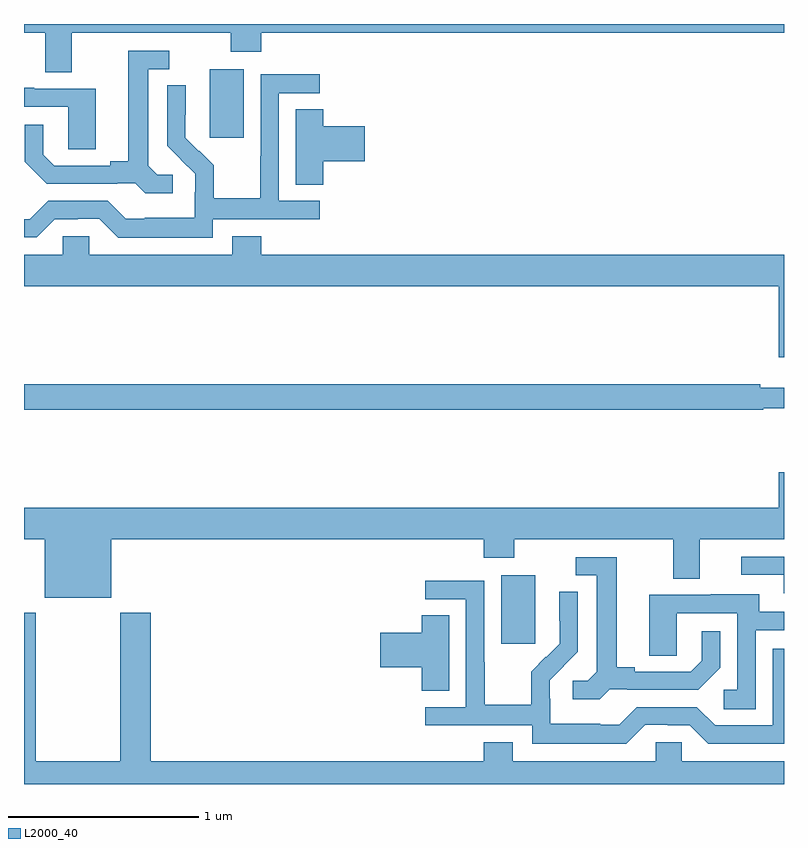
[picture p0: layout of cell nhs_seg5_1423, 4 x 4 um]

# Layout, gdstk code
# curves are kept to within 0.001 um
import gdstk
lib = gdstk.Library(unit=1e-6, precision=1e-09)
def R(c, l, rs):  # rectangles x0, y0, x1, y1
    for r in rs: c.add(gdstk.rectangle(r[:2], r[2:], *l))
def P(c, l, *ps):  # polygons
    for p in ps: c.add(gdstk.Polygon(p, *l))
L2000_40 = (2000, 40)

nhs_seg5_1423 = lib.new_cell('nhs_seg5_1423')
R(nhs_seg5_1423, L2000_40, [(199.511,861.537,199.69,861.898), (197.978,864.201,198.157,864.562)])
P(nhs_seg5_1423, L2000_40, [(197.251,864.752),(198.088,864.752),(198.088,864.653),(198.248,864.653),(198.248,864.752),(201,864.752),(201,864.799),(197,864.799),(197,864.752),(197.111,864.752),(197.111,864.544),(197.251,864.544)],
  [(197.782,864.006),(197.7,864.006),(197.653,864.053),(197.653,864.561),(197.764,864.561),(197.764,864.657),(197.549,864.657),(197.549,864.077),(197.453,864.077),(197.453,864.054),(197.158,864.054),(197.101,864.111),(197.101,864.268),(197.004,864.268),(197.004,864.074),(197.12,863.958),(197.492,863.958),(197.492,863.961),(197.586,863.961),(197.638,863.909),(197.782,863.909)],
  [(197.994,863.772),(198.556,863.772),(198.556,863.868),(198.342,863.868),(198.342,864.435),(198.556,864.435),(198.556,864.534),(198.246,864.534),(198.246,864.104),(198.244,864.104),(198.244,863.881),(197.999,863.881),(197.999,864.055),(197.922,864.132),(197.919,864.129),(197.849,864.2),(197.85,864.476),(197.754,864.476),(197.754,864.158),(197.9,864.01),(197.9,863.913),(197.898,863.913),(197.898,863.779),(197.635,863.779),(197.635,863.775),(197.535,863.775),(197.442,863.868),(197.127,863.868),(197.031,863.772),(197,863.772),(197,863.676),(197.067,863.676),(197.163,863.772),(197.282,863.772),(197.282,863.775),(197.397,863.775),(197.497,863.675),(197.994,863.675)],
  [(197.377,864.459),(197.053,864.459),(197.053,864.463),(197,864.463),(197,864.363),(197.232,864.363),(197.232,864.139),(197.377,864.139)],
  [(198.575,864.077),(198.793,864.077),(198.793,864.26),(198.575,864.26),(198.575,864.35),(198.431,864.35),(198.431,863.953),(198.575,863.953)],
  [(201,863.584),(198.248,863.584),(198.248,863.683),(198.095,863.683),(198.095,863.584),(197.343,863.584),(197.343,863.682),(197.205,863.682),(197.205,863.584),(197,863.584),(197,863.42),(200.972,863.42),(200.972,863.046),(201,863.046)],
  [(200.89,862.776),(201,862.776),(201,862.885),(200.876,862.885),(200.876,862.904),(197,862.904),(197,862.768),(200.89,862.768)],
  [(197.458,862.088),(199.421,862.088),(199.421,861.989),(199.581,861.989),(199.581,862.088),(200.417,862.088),(200.417,861.88),(200.557,861.88),(200.557,862.088),(201,862.088),(201,862.441),(200.972,862.441),(200.972,862.252),(197,862.252),(197,862.088),(197.108,862.088),(197.108,861.779),(197.458,861.779)],
  [(201,861.996),(200.775,861.996),(200.775,861.9),(200.999,861.9),(200.999,861.804),(201,861.804)],
  [(200.082,861.297),(200.176,861.297),(200.176,861.294),(200.548,861.294),(200.664,861.41),(200.664,861.604),(200.567,861.604),(200.567,861.447),(200.51,861.39),(200.215,861.39),(200.215,861.413),(200.119,861.413),(200.119,861.993),(199.905,861.993),(199.905,861.897),(200.015,861.897),(200.015,861.389),(199.968,861.342),(199.887,861.342),(199.887,861.245),(200.03,861.245)],
  [(200.271,861.111),(200.387,861.111),(200.387,861.108),(200.505,861.108),(200.601,861.012),(201,861.012),(201,861.51),(200.94,861.51),(200.94,861.108),(200.637,861.108),(200.541,861.204),(200.226,861.204),(200.133,861.111),(200.033,861.111),(200.033,861.115),(199.77,861.115),(199.77,861.249),(199.768,861.249),(199.768,861.346),(199.914,861.494),(199.914,861.812),(199.818,861.812),(199.818,861.658),(199.82,861.658),(199.82,861.536),(199.749,861.465),(199.746,861.468),(199.669,861.391),(199.669,861.217),(199.425,861.217),(199.425,861.44),(199.422,861.44),(199.422,861.87),(199.113,861.87),(199.113,861.771),(199.326,861.771),(199.326,861.204),(199.113,861.204),(199.113,861.108),(199.674,861.108),(199.674,861.011),(200.171,861.011)],
  [(200.85,861.609),(201,861.609),(201,861.705),(200.869,861.705),(200.869,861.799),(200.615,861.799),(200.615,861.795),(200.291,861.795),(200.291,861.475),(200.436,861.475),(200.436,861.699),(200.754,861.699),(200.754,861.294),(200.682,861.294),(200.682,861.193),(200.85,861.193)],
  [(199.421,861.019),(199.421,860.92),(197.666,860.92),(197.666,861.7),(197.506,861.7),(197.506,860.92),(197.061,860.92),(197.061,861.7),(197,861.7),(197,860.799),(201,860.799),(201,860.92),(200.463,860.92),(200.463,861.018),(200.325,861.018),(200.325,860.92),(199.573,860.92),(199.573,861.019)],
  [(199.237,861.686),(199.094,861.686),(199.094,861.596),(198.876,861.596),(198.876,861.413),(199.094,861.413),(199.094,861.289),(199.237,861.289)])

lib.write_gds('nhs_seg5_1423.gds')
